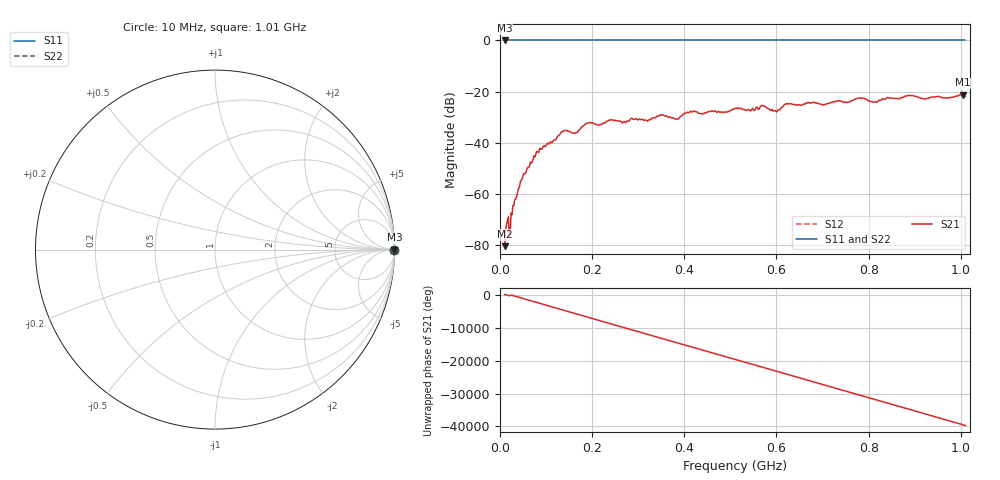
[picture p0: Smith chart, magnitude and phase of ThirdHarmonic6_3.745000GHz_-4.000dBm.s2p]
! 8/17/2025 12:49:45 PM
! C:\ANRITSUVNA\TEMP\TEMP.S2P
! CHANNEL.1
! TR.MEASUREMENT
! RAW.DATA
! RF.CORRECTION.OFF
! AVERAGING.OFF
! IF.BANDWIDTH: 5KHZ
! SWEEPTYPE:  FREQ.SWEEP(Linear)
! Reference Plane Port Info
! PORT:  PORT1  PORT2
! DISTANCE:  0  m  0  m
! TIME:  0  s  0  s
! PHASE.OFFSET:  0  deg.  0  deg.
! LOSS:  0  dB  0  dB
! REF.LOSS:  0  dB  0  dB
! REF.FREQ:  0  Hz  0  Hz
! Power Info
! POWER:  -20  dBm  -20  dBm
! EFF.POWER:  -20  dBm  -20  dBm
! SOURCE.ATTEN:  0  dB  0  dB
! TEST.ATTEN:  0  dB  0  dB
# GHZ S RI R 50.0
! FREQ.GHZ  S11RE  S11IM  S21RE  S21IM  S12RE  S12IM  S22RE  S22IM
!; PortSelection: Port_12
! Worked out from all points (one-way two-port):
!   501 points, 10 MHz to 1.01 GHz, reference 50 ohm
!   highest |S21| = -21.19 dB at 1.004 GHz (marker M1); lowest = -80.4 dB at 10 MHz (marker M2)
!   lowest |S11| = 0.0 dB at 10 MHz (marker M3)
!   |S11| at or under -10 dB: nowhere
!   |S22| runs from 0.0 to 0.0 dB; largest |S21 - S12| = 1.1
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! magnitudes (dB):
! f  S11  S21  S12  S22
! 10 MHz  0.0  -80.4  0.0  0.0
! 14 MHz  0.0  -72.0  0.0  0.0
! 24 MHz  0.0  -67.5  0.0  0.0
! 28 MHz  0.0  -64.6  0.0  0.0
! 48 MHz  0.0  -54.1  0.0  0.0
! 78 MHz  0.0  -44.2  0.0  0.0
! 136 MHz  0.0  -35.7  0.0  0.0
! 164 MHz  0.0  -36.2  0.0  0.0
! 178 MHz  0.0  -33.7  0.0  0.0
! 344 MHz  0.0  -29.6  0.0  0.0
! 384 MHz  0.0  -30.6  0.0  0.0
! 416 MHz  0.0  -27.9  0.0  0.0
! 510 MHz  0.0  -26.6  0.0  0.0
! 570 MHz  0.0  -25.4  0.0  0.0
! 598 MHz  0.0  -27.5  0.0  0.0
! 622 MHz  0.0  -24.8  0.0  0.0
! 678 MHz  0.0  -24.3  0.0  0.0
! 782 MHz  0.0  -22.5  0.0  0.0
! 814 MHz  0.0  -24.0  0.0  0.0
! 844 MHz  0.0  -22.5  0.0  0.0
! 1.004 GHz  0.0  -21.2  0.0  0.0
! 1.01 GHz  0.0  -21.9  0.0  0.0
